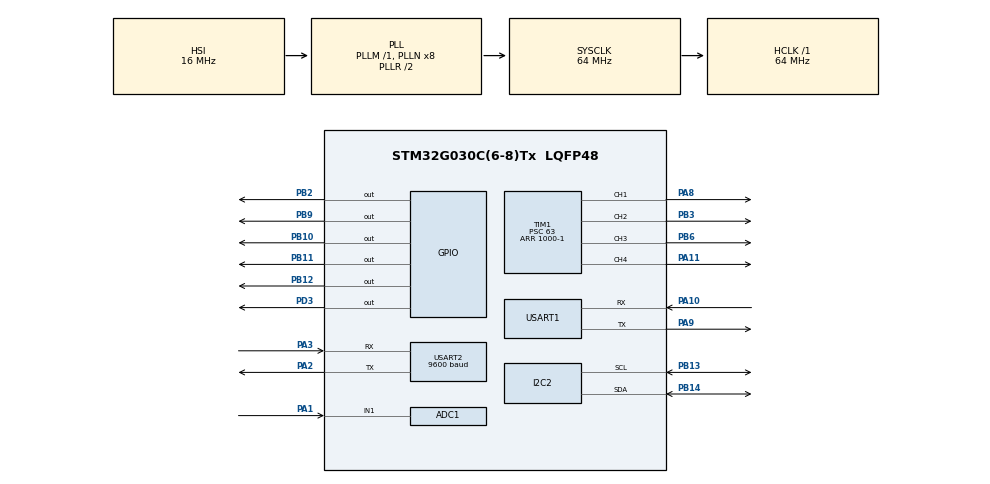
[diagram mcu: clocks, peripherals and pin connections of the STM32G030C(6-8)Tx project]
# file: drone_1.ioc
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ADC1.Channel-2\#ChannelRegularConversion=ADC_CHANNEL_1
ADC1.NbrOfConversionFlag=1
ADC1.Rank-2\#ChannelRegularConversion=1
ADC1.SamplingTime-2\#ChannelRegularConversion=ADC_SAMPLINGTIME_COMMON_1
ADC1.SelectedChannel=ADC_CHANNEL_1
ADC1.master=1
Dma.Request0=USART2_RX
Dma.Request1=USART2_TX
Dma.USART2_RX.0.Direction=DMA_PERIPH_TO_MEMORY
Dma.USART2_RX.0.EventEnable=DISABLE
Dma.USART2_RX.0.Instance=DMA1_Channel1
Dma.USART2_RX.0.MemDataAlignment=DMA_MDATAALIGN_BYTE
Dma.USART2_RX.0.MemInc=DMA_MINC_ENABLE
Dma.USART2_RX.0.Mode=DMA_NORMAL
Dma.USART2_RX.0.PeriphDataAlignment=DMA_PDATAALIGN_BYTE
Dma.USART2_RX.0.PeriphInc=DMA_PINC_DISABLE
Dma.USART2_RX.0.Polarity=HAL_DMAMUX_REQ_GEN_RISING
Dma.USART2_RX.0.Priority=DMA_PRIORITY_LOW
Dma.USART2_RX.0.RequestNumber=1
Dma.USART2_RX.0.SignalID=NONE
Dma.USART2_RX.0.SyncEnable=DISABLE
Dma.USART2_RX.0.SyncPolarity=HAL_DMAMUX_SYNC_NO_EVENT
Dma.USART2_RX.0.SyncRequestNumber=1
Dma.USART2_RX.0.SyncSignalID=NONE
Dma.USART2_TX.1.Direction=DMA_MEMORY_TO_PERIPH
Dma.USART2_TX.1.EventEnable=DISABLE
Dma.USART2_TX.1.Instance=DMA1_Channel2
Dma.USART2_TX.1.MemDataAlignment=DMA_MDATAALIGN_BYTE
Dma.USART2_TX.1.MemInc=DMA_MINC_ENABLE
Dma.USART2_TX.1.Mode=DMA_NORMAL
Dma.USART2_TX.1.PeriphDataAlignment=DMA_PDATAALIGN_BYTE
Dma.USART2_TX.1.PeriphInc=DMA_PINC_DISABLE
Dma.USART2_TX.1.Polarity=HAL_DMAMUX_REQ_GEN_RISING
Dma.USART2_TX.1.Priority=DMA_PRIORITY_LOW
Dma.USART2_TX.1.RequestNumber=1
Dma.USART2_TX.1.SignalID=NONE
Dma.USART2_TX.1.SyncEnable=DISABLE
Dma.USART2_TX.1.SyncPolarity=HAL_DMAMUX_SYNC_NO_EVENT
Dma.USART2_TX.1.SyncRequestNumber=1
Dma.USART2_TX.1.SyncSignalID=NONE
I2C2.Timing=0x10B17DB5
Mcu.Family=STM32G0
Mcu.Name=STM32G030C(6-8)Tx
Mcu.Package=LQFP48
NVIC.DMA1_Channel1_IRQn=true\:0\:0\:false\:false\:true\:false\:true\:true
NVIC.DMA1_Channel2_3_IRQn=true\:0\:0\:false\:false\:true\:false\:true\:true
NVIC.I2C2_IRQn=true\:0\:0\:false\:false\:true\:true\:true\:true
NVIC.TIM1_BRK_UP_TRG_COM_IRQn=true\:0\:0\:false\:false\:true\:true\:true\:true
NVIC.TIM1_CC_IRQn=true\:0\:0\:false\:false\:true\:true\:true\:true
NVIC.TIM3_IRQn=true\:0\:0\:false\:false\:true\:true\:true\:true
NVIC.USART2_IRQn=true\:0\:0\:false\:false\:true\:true\:true\:true
PA1.Mode=IN1
PA1.Signal=ADC1_IN1
PA10.Mode=Asynchronous
PA10.Signal=USART1_RX
PA11\ [PA9].Signal=S_TIM1_CH4
PA13.Mode=Serial_Wire
PA13.Signal=SYS_SWDIO
PA14-BOOT0.Mode=Serial_Wire
PA14-BOOT0.Signal=SYS_SWCLK
PA2.Mode=Asynchronous
PA2.Signal=USART2_TX
PA3.Mode=Asynchronous
PA3.Signal=USART2_RX
PA8.Signal=S_TIM1_CH1
PA9.Mode=Asynchronous
PA9.Signal=USART1_TX
PB10.Signal=GPIO_Output
PB11.Signal=GPIO_Output
PB12.Signal=GPIO_Output
PB13.Mode=I2C
PB13.Signal=I2C2_SCL
PB14.Mode=I2C
PB14.Signal=I2C2_SDA
PB2.Signal=GPIO_Output
PB3.Signal=S_TIM1_CH2
PB6.Signal=S_TIM1_CH3
PB9.Signal=GPIO_Output
PD3.Signal=GPIO_Output
ProjectManager.HeapSize=0x200
ProjectManager.StackSize=0x400
ProjectManager.TargetToolchain=MDK-ARM V5.27
RCC.ADCFreq_Value=64000000
RCC.AHBFreq_Value=64000000
RCC.CortexFreq_Value=64000000
RCC.EXTERNAL_CLOCK_VALUE=12288000
RCC.HCLKFreq_Value=64000000
RCC.HSE_VALUE=8000000
RCC.HSI_VALUE=16000000
RCC.LSE_VALUE=32768
RCC.SYSCLKFreq_VALUE=64000000
RCC.SYSCLKSource=RCC_SYSCLKSOURCE_PLLCLK
RCC.VCOOutputFreq_Value=128000000
SH.S_TIM1_CH1.0=TIM1_CH1,PWM Generation1 CH1
SH.S_TIM1_CH2.0=TIM1_CH2,PWM Generation2 CH2
SH.S_TIM1_CH3.0=TIM1_CH3,PWM Generation3 CH3
SH.S_TIM1_CH4.0=TIM1_CH4,PWM Generation4 CH4
TIM1.AutoReloadPreload=TIM_AUTORELOAD_PRELOAD_ENABLE
TIM1.Channel-PWM\ Generation1\ CH1=TIM_CHANNEL_1
TIM1.Channel-PWM\ Generation2\ CH2=TIM_CHANNEL_2
TIM1.Channel-PWM\ Generation3\ CH3=TIM_CHANNEL_3
TIM1.Channel-PWM\ Generation4\ CH4=TIM_CHANNEL_4
TIM1.Period=1000-1
TIM1.Prescaler=63
TIM3.Period=103
TIM3.Prescaler=63
USART1.VirtualMode-Asynchronous=VM_ASYNC
USART2.BaudRate=9600
USART2.Parity=PARITY_NONE
USART2.TxPinLevelInvertParam=ADVFEATURE_TXINV_DISABLE
USART2.VirtualMode-Asynchronous=VM_ASYNC
VP_TIM1_VS_ClockSourceINT.Mode=Internal
VP_TIM3_VS_ClockSourceINT.Mode=Internal
board=custom

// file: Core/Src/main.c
/* USER CODE BEGIN Header */
/**
  ******************************************************************************
  * @file           : main.c
  * @brief          : Main program body
  ******************************************************************************
  * @attention
  *
  * Copyright (c) 2025 STMicroelectronics.
  * All rights reserved.
  *
  * This software is licensed under terms that can be found in the LICENSE file
  * in the root directory of this software component.
  * If no LICENSE file comes with this software, it is provided AS-IS.
  *
  ******************************************************************************
  */
/* USER CODE END Header */
#include "main.h"

/* USER CODE BEGIN Includes */
#include "control.h"
#include "MPU6050.h"
#include "soft_uart.h"
#include "Buletooth.h"
/* USER CODE END Includes */

ADC_HandleTypeDef hadc1;

I2C_HandleTypeDef hi2c2;

TIM_HandleTypeDef htim1;
TIM_HandleTypeDef htim3;

UART_HandleTypeDef huart1;
UART_HandleTypeDef huart2;
DMA_HandleTypeDef hdma_usart2_rx;
DMA_HandleTypeDef hdma_usart2_tx;

int8_t rx_data;

void SystemClock_Config(void);
static void MX_GPIO_Init(void);
static void MX_DMA_Init(void);
static void MX_ADC1_Init(void);
static void MX_I2C2_Init(void);
static void MX_TIM1_Init(void);
static void MX_USART1_UART_Init(void);
static void MX_TIM3_Init(void);
static void MX_USART2_UART_Init(void);

int main(void)
{

  /* MCU Configuration--------------------------------------------------------*/

  /* Reset of all peripherals, Initializes the Flash interface and the Systick. */
  HAL_Init();

  /* Configure the system clock */
  SystemClock_Config();

  /* Initialize all configured peripherals */
  MX_GPIO_Init();
  MX_DMA_Init();
  MX_ADC1_Init();
  MX_I2C2_Init();
  MX_TIM1_Init();
  MX_USART1_UART_Init();
  MX_TIM3_Init();
  MX_USART2_UART_Init();
  /* USER CODE BEGIN 2 */
	HAL_Delay(1000);
	MPU6050_Init();
	HAL_Delay(1000);
	Pid_init();

	HAL_TIM_PWM_Start(&htim1,TIM_CHANNEL_1);
	HAL_TIM_PWM_Start(&htim1,TIM_CHANNEL_2);
	HAL_TIM_PWM_Start(&htim1,TIM_CHANNEL_3);
	HAL_TIM_PWM_Start(&htim1,TIM_CHANNEL_4);

	buletooth_StartReceiveIT();
  /* USER CODE END 2 */

  /* Infinite loop */
  /* USER CODE BEGIN WHILE */

	uint8_t init_msg[] = "蓝牙已连！\r\n";
  HAL_UART_Transmit(&huart1, init_msg, sizeof(init_msg)-1, 1000);  // 超时1秒
	HAL_Delay(1000);
	MPU6050_Call();

	buletooth_StartReceiveIT();
  while (1)
  {
		// 读取MPU6050原始数据
    MPU6050_GetData(&MPU6050);

    // 进行姿态解算（使用互补滤波）
    MPU6050_AttitudeEstimation(MPU6050);

    char buffer[50];
    int len = snprintf(buffer, sizeof(buffer), "%.2f,%.2f,%.2f\r\n", Roll_Angle_C, Pitch_Angle_C, Yaw_Angle_C);
    HAL_UART_Transmit(&huart1, (uint8_t*)buffer, len, HAL_MAX_DELAY);
		HAL_Delay(10);
    handle_command(rx_data);
		Bluetooth_Control_Loop();
	}
    /* USER CODE END WHILE */

}

void SystemClock_Config(void)
{
  RCC_OscInitTypeDef RCC_OscInitStruct = {0};
  RCC_ClkInitTypeDef RCC_ClkInitStruct = {0};

  /** Configure the main internal regulator output voltage
  */
  HAL_PWREx_ControlVoltageScaling(PWR_REGULATOR_VOLTAGE_SCALE1);

  /** Initializes the RCC Oscillators according to the specified parameters
  * in the RCC_OscInitTypeDef structure.
  */
  RCC_OscInitStruct.OscillatorType = RCC_OSCILLATORTYPE_HSI;
  RCC_OscInitStruct.HSIState = RCC_HSI_ON;
  RCC_OscInitStruct.HSIDiv = RCC_HSI_DIV1;
  RCC_OscInitStruct.HSICalibrationValue = RCC_HSICALIBRATION_DEFAULT;
  RCC_OscInitStruct.PLL.PLLState = RCC_PLL_ON;
  RCC_OscInitStruct.PLL.PLLSource = RCC_PLLSOURCE_HSI;
  RCC_OscInitStruct.PLL.PLLM = RCC_PLLM_DIV1;
  RCC_OscInitStruct.PLL.PLLN = 8;
  RCC_OscInitStruct.PLL.PLLP = RCC_PLLP_DIV2;
  RCC_OscInitStruct.PLL.PLLR = RCC_PLLR_DIV2;
  if (HAL_RCC_OscConfig(&RCC_OscInitStruct) != HAL_OK)
  {
    Error_Handler();
  }

  /** Initializes the CPU, AHB and APB buses clocks
  */
  RCC_ClkInitStruct.ClockType = RCC_CLOCKTYPE_HCLK|RCC_CLOCKTYPE_SYSCLK
                              |RCC_CLOCKTYPE_PCLK1;
  RCC_ClkInitStruct.SYSCLKSource = RCC_SYSCLKSOURCE_PLLCLK;
  RCC_ClkInitStruct.AHBCLKDivider = RCC_SYSCLK_DIV1;
  RCC_ClkInitStruct.APB1CLKDivider = RCC_HCLK_DIV1;

  if (HAL_RCC_ClockConfig(&RCC_ClkInitStruct, FLASH_LATENCY_2) != HAL_OK)
  {
    Error_Handler();
  }
}

static void MX_ADC1_Init(void)
{

  ADC_ChannelConfTypeDef sConfig = {0};

  /** Configure the global features of the ADC (Clock, Resolution, Data Alignment and number of conversion)
  */
  hadc1.Instance = ADC1;
  hadc1.Init.ClockPrescaler = ADC_CLOCK_SYNC_PCLK_DIV2;
  hadc1.Init.Resolution = ADC_RESOLUTION_12B;
  hadc1.Init.DataAlign = ADC_DATAALIGN_RIGHT;
  hadc1.Init.ScanConvMode = ADC_SCAN_DISABLE;
  hadc1.Init.EOCSelection = ADC_EOC_SINGLE_CONV;
  hadc1.Init.LowPowerAutoWait = DISABLE;
  hadc1.Init.LowPowerAutoPowerOff = DISABLE;
  hadc1.Init.ContinuousConvMode = DISABLE;
  hadc1.Init.NbrOfConversion = 1;
  hadc1.Init.DiscontinuousConvMode = DISABLE;
  hadc1.Init.ExternalTrigConv = ADC_SOFTWARE_START;
  hadc1.Init.ExternalTrigConvEdge = ADC_EXTERNALTRIGCONVEDGE_NONE;
  hadc1.Init.DMAContinuousRequests = DISABLE;
  hadc1.Init.Overrun = ADC_OVR_DATA_PRESERVED;
  hadc1.Init.SamplingTimeCommon1 = ADC_SAMPLETIME_1CYCLE_5;
  hadc1.Init.SamplingTimeCommon2 = ADC_SAMPLETIME_1CYCLE_5;
  hadc1.Init.OversamplingMode = DISABLE;
  hadc1.Init.TriggerFrequencyMode = ADC_TRIGGER_FREQ_HIGH;
  if (HAL_ADC_Init(&hadc1) != HAL_OK)
  {
    Error_Handler();
  }

  /** Configure Regular Channel
  */
  sConfig.Channel = ADC_CHANNEL_1;
  sConfig.Rank = ADC_REGULAR_RANK_1;
  sConfig.SamplingTime = ADC_SAMPLINGTIME_COMMON_1;
  if (HAL_ADC_ConfigChannel(&hadc1, &sConfig) != HAL_OK)
  {
    Error_Handler();
  }

}

static void MX_I2C2_Init(void)
{

  hi2c2.Instance = I2C2;
  hi2c2.Init.Timing = 0x10B17DB5;
  hi2c2.Init.OwnAddress1 = 0;
  hi2c2.Init.AddressingMode = I2C_ADDRESSINGMODE_7BIT;
  hi2c2.Init.DualAddressMode = I2C_DUALADDRESS_DISABLE;
  hi2c2.Init.OwnAddress2 = 0;
  hi2c2.Init.OwnAddress2Masks = I2C_OA2_NOMASK;
  hi2c2.Init.GeneralCallMode = I2C_GENERALCALL_DISABLE;
  hi2c2.Init.NoStretchMode = I2C_NOSTRETCH_DISABLE;
  if (HAL_I2C_Init(&hi2c2) != HAL_OK)
  {
    Error_Handler();
  }

  /** Configure Analogue filter
  */
  if (HAL_I2CEx_ConfigAnalogFilter(&hi2c2, I2C_ANALOGFILTER_ENABLE) != HAL_OK)
  {
    Error_Handler();
  }

  /** Configure Digital filter
  */
  if (HAL_I2CEx_ConfigDigitalFilter(&hi2c2, 0) != HAL_OK)
  {
    Error_Handler();
  }

}

static void MX_TIM1_Init(void)
{

  TIM_ClockConfigTypeDef sClockSourceConfig = {0};
  TIM_MasterConfigTypeDef sMasterConfig = {0};
  TIM_OC_InitTypeDef sConfigOC = {0};
  TIM_BreakDeadTimeConfigTypeDef sBreakDeadTimeConfig = {0};

  htim1.Instance = TIM1;
  htim1.Init.Prescaler = 63;
  htim1.Init.CounterMode = TIM_COUNTERMODE_UP;
  htim1.Init.Period = 1000-1;
  htim1.Init.ClockDivision = TIM_CLOCKDIVISION_DIV1;
  htim1.Init.RepetitionCounter = 0;
  htim1.Init.AutoReloadPreload = TIM_AUTORELOAD_PRELOAD_ENABLE;
  if (HAL_TIM_Base_Init(&htim1) != HAL_OK)
  {
    Error_Handler();
  }
  sClockSourceConfig.ClockSource = TIM_CLOCKSOURCE_INTERNAL;
  if (HAL_TIM_ConfigClockSource(&htim1, &sClockSourceConfig) != HAL_OK)
  {
    Error_Handler();
  }
  if (HAL_TIM_PWM_Init(&htim1) != HAL_OK)
  {
    Error_Handler();
  }
  sMasterConfig.MasterOutputTrigger = TIM_TRGO_RESET;
  sMasterConfig.MasterOutputTrigger2 = TIM_TRGO2_RESET;
  sMasterConfig.MasterSlaveMode = TIM_MASTERSLAVEMODE_DISABLE;
  if (HAL_TIMEx_MasterConfigSynchronization(&htim1, &sMasterConfig) != HAL_OK)
  {
    Error_Handler();
  }
  sConfigOC.OCMode = TIM_OCMODE_PWM1;
  sConfigOC.Pulse = 0;
  sConfigOC.OCPolarity = TIM_OCPOLARITY_HIGH;
  sConfigOC.OCNPolarity = TIM_OCNPOLARITY_HIGH;
  sConfigOC.OCFastMode = TIM_OCFAST_DISABLE;
  sConfigOC.OCIdleState = TIM_OCIDLESTATE_RESET;
  sConfigOC.OCNIdleState = TIM_OCNIDLESTATE_RESET;
  if (HAL_TIM_PWM_ConfigChannel(&htim1, &sConfigOC, TIM_CHANNEL_1) != HAL_OK)
  {
    Error_Handler();
  }
  if (HAL_TIM_PWM_ConfigChannel(&htim1, &sConfigOC, TIM_CHANNEL_2) != HAL_OK)
  {
    Error_Handler();
  }
  if (HAL_TIM_PWM_ConfigChannel(&htim1, &sConfigOC, TIM_CHANNEL_3) != HAL_OK)
  {
    Error_Handler();
  }
  if (HAL_TIM_PWM_ConfigChannel(&htim1, &sConfigOC, TIM_CHANNEL_4) != HAL_OK)
  {
    Error_Handler();
  }
  sBreakDeadTimeConfig.OffStateRunMode = TIM_OSSR_DISABLE;
  sBreakDeadTimeConfig.OffStateIDLEMode = TIM_OSSI_DISABLE;
  sBreakDeadTimeConfig.LockLevel = TIM_LOCKLEVEL_OFF;
  sBreakDeadTimeConfig.DeadTime = 0;
  sBreakDeadTimeConfig.BreakState = TIM_BREAK_DISABLE;
  sBreakDeadTimeConfig.BreakPolarity = TIM_BREAKPOLARITY_HIGH;
  sBreakDeadTimeConfig.BreakFilter = 0;
  sBreakDeadTimeConfig.BreakAFMode = TIM_BREAK_AFMODE_INPUT;
  sBreakDeadTimeConfig.Break2State = TIM_BREAK2_DISABLE;
  sBreakDeadTimeConfig.Break2Polarity = TIM_BREAK2POLARITY_HIGH;
  sBreakDeadTimeConfig.Break2Filter = 0;
  sBreakDeadTimeConfig.Break2AFMode = TIM_BREAK_AFMODE_INPUT;
  sBreakDeadTimeConfig.AutomaticOutput = TIM_AUTOMATICOUTPUT_DISABLE;
  if (HAL_TIMEx_ConfigBreakDeadTime(&htim1, &sBreakDeadTimeConfig) != HAL_OK)
  {
    Error_Handler();
  }
  HAL_TIM_MspPostInit(&htim1);

}

static void MX_TIM3_Init(void)
{

  TIM_ClockConfigTypeDef sClockSourceConfig = {0};
  TIM_MasterConfigTypeDef sMasterConfig = {0};

  htim3.Instance = TIM3;
  htim3.Init.Prescaler = 63;
  htim3.Init.CounterMode = TIM_COUNTERMODE_UP;
  htim3.Init.Period = 103;
  htim3.Init.ClockDivision = TIM_CLOCKDIVISION_DIV1;
  htim3.Init.AutoReloadPreload = TIM_AUTORELOAD_PRELOAD_DISABLE;
  if (HAL_TIM_Base_Init(&htim3) != HAL_OK)
  {
    Error_Handler();
  }
  sClockSourceConfig.ClockSource = TIM_CLOCKSOURCE_INTERNAL;
  if (HAL_TIM_ConfigClockSource(&htim3, &sClockSourceConfig) != HAL_OK)
  {
    Error_Handler();
  }
  sMasterConfig.MasterOutputTrigger = TIM_TRGO_RESET;
  sMasterConfig.MasterSlaveMode = TIM_MASTERSLAVEMODE_DISABLE;
  if (HAL_TIMEx_MasterConfigSynchronization(&htim3, &sMasterConfig) != HAL_OK)
  {
    Error_Handler();
  }

}

static void MX_USART1_UART_Init(void)
{

  huart1.Instance = USART1;
  huart1.Init.BaudRate = 115200;
  huart1.Init.WordLength = UART_WORDLENGTH_8B;
  huart1.Init.StopBits = UART_STOPBITS_1;
  huart1.Init.Parity = UART_PARITY_NONE;
  huart1.Init.Mode = UART_MODE_TX_RX;
  huart1.Init.HwFlowCtl = UART_HWCONTROL_NONE;
  huart1.Init.OverSampling = UART_OVERSAMPLING_16;
  huart1.Init.OneBitSampling = UART_ONE_BIT_SAMPLE_DISABLE;
  huart1.Init.ClockPrescaler = UART_PRESCALER_DIV1;
  huart1.AdvancedInit.AdvFeatureInit = UART_ADVFEATURE_NO_INIT;
  if (HAL_UART_Init(&huart1) != HAL_OK)
  {
    Error_Handler();
  }
  if (HAL_UARTEx_SetTxFifoThreshold(&huart1, UART_TXFIFO_THRESHOLD_1_8) != HAL_OK)
  {
    Error_Handler();
  }
  if (HAL_UARTEx_SetRxFifoThreshold(&huart1, UART_RXFIFO_THRESHOLD_1_8) != HAL_OK)
  {
    Error_Handler();
  }
  if (HAL_UARTEx_DisableFifoMode(&huart1) != HAL_OK)
  {
    Error_Handler();
  }

}

static void MX_USART2_UART_Init(void)
{

  huart2.Instance = USART2;
  huart2.Init.BaudRate = 9600;
  huart2.Init.WordLength = UART_WORDLENGTH_8B;
  huart2.Init.StopBits = UART_STOPBITS_1;
  huart2.Init.Parity = UART_PARITY_NONE;
  huart2.Init.Mode = UART_MODE_TX_RX;
  huart2.Init.HwFlowCtl = UART_HWCONTROL_NONE;
  huart2.Init.OverSampling = UART_OVERSAMPLING_16;
  huart2.Init.OneBitSampling = UART_ONE_BIT_SAMPLE_DISABLE;
  huart2.Init.ClockPrescaler = UART_PRESCALER_DIV1;
  huart2.AdvancedInit.AdvFeatureInit = UART_ADVFEATURE_NO_INIT;
  if (HAL_UART_Init(&huart2) != HAL_OK)
  {
    Error_Handler();
  }

}

static void MX_DMA_Init(void)
{

  /* DMA controller clock enable */
  __HAL_RCC_DMA1_CLK_ENABLE();

  /* DMA interrupt init */
  /* DMA1_Channel1_IRQn interrupt configuration */
  HAL_NVIC_SetPriority(DMA1_Channel1_IRQn, 0, 0);
  HAL_NVIC_EnableIRQ(DMA1_Channel1_IRQn);
  /* DMA1_Channel2_3_IRQn interrupt configuration */
  HAL_NVIC_SetPriority(DMA1_Channel2_3_IRQn, 0, 0);
  HAL_NVIC_EnableIRQ(DMA1_Channel2_3_IRQn);

}

static void MX_GPIO_Init(void)
{
  GPIO_InitTypeDef GPIO_InitStruct = {0};

  /* GPIO Ports Clock Enable */
  __HAL_RCC_GPIOA_CLK_ENABLE();
  __HAL_RCC_GPIOB_CLK_ENABLE();
  __HAL_RCC_GPIOD_CLK_ENABLE();

  /*Configure GPIO pin Output Level */
  HAL_GPIO_WritePin(GPIOB, GPIO_PIN_2|GPIO_PIN_10|GPIO_PIN_11|GPIO_PIN_12
                          |GPIO_PIN_9, GPIO_PIN_RESET);

  /*Configure GPIO pin Output Level */
  HAL_GPIO_WritePin(GPIOD, GPIO_PIN_3, GPIO_PIN_RESET);

  /*Configure GPIO pins : PB2 PB10 PB11 PB12
                           PB9 */
  GPIO_InitStruct.Pin = GPIO_PIN_2|GPIO_PIN_10|GPIO_PIN_11|GPIO_PIN_12
                          |GPIO_PIN_9;
  GPIO_InitStruct.Mode = GPIO_MODE_OUTPUT_PP;
  GPIO_InitStruct.Pull = GPIO_NOPULL;
  GPIO_InitStruct.Speed = GPIO_SPEED_FREQ_LOW;
  HAL_GPIO_Init(GPIOB, &GPIO_InitStruct);

  /*Configure GPIO pin : PD3 */
  GPIO_InitStruct.Pin = GPIO_PIN_3;
  GPIO_InitStruct.Mode = GPIO_MODE_OUTPUT_PP;
  GPIO_InitStruct.Pull = GPIO_NOPULL;
  GPIO_InitStruct.Speed = GPIO_SPEED_FREQ_LOW;
  HAL_GPIO_Init(GPIOD, &GPIO_InitStruct);

}

/* USER CODE BEGIN 4 */
void HAL_TIM_PeriodElapsedCallback(TIM_HandleTypeDef *htim)
{
  if (htim->Instance == TIM3)
  {
    // 10ms��ʱִ����̬����Ϳ���
//    MPU6050_GetData(&MPU6050);
//    MPU6050_AttitudeEstimation(MPU6050);
//    Update_Control_Input();
//    CONTROL(Roll_Angle_C, Pitch_Angle_C, Yaw_Angle_C,
//            Roll_Angle_Ex, Pitch_Angle_Ex, Yaw_Angle_Ex);
		// ��ȡMPU6050ԭʼ����
        MPU6050_GetData(&MPU6050);

        // ������̬���㣨ʹ�û����˲���
        MPU6050_AttitudeEstimation(MPU6050);

        char buffer[50];
        int len = snprintf(buffer, sizeof(buffer), "R:%.2f,P:%.2f,Y:%.2f\r\n", Roll_Angle_C, Pitch_Angle_C, Yaw_Angle_C);
        HAL_UART_Transmit(&huart1, (uint8_t*)buffer, len, HAL_MAX_DELAY);
  }
}

/* USER CODE END 4 */

void Error_Handler(void)
{
  __disable_irq();
  while (1)
  {
  }
}
